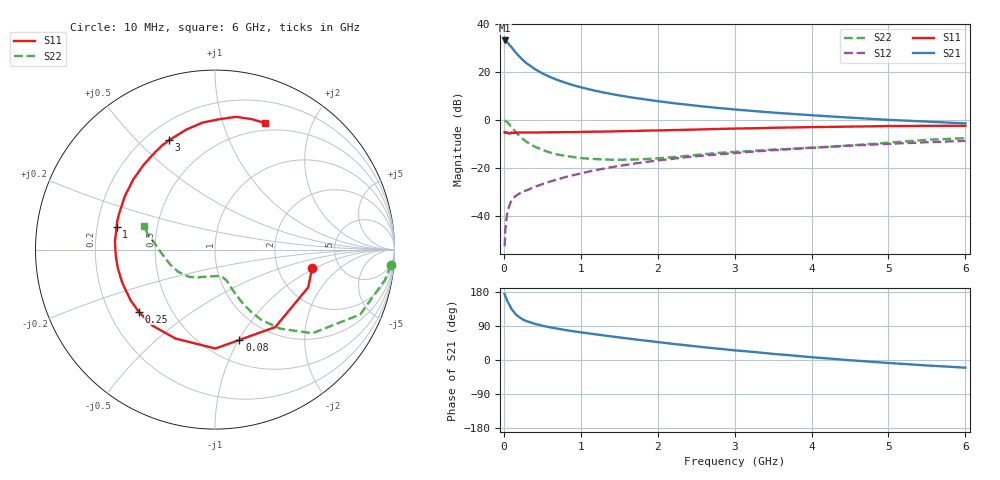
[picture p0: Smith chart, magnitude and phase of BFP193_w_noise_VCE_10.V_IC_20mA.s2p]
! Infineon Technologies  Discrete & RF Semiconductors
! BFP193
! VCE =  10. V,  IC =  20 mA
! Common Emitter S-Parameters:  Jan 2017
# GHz  S  MA  R  50
!  f  S11  S21  S12  S22
! GHz  MAG  ANG  MAG  ANG  MAG  ANG  MAG  ANG
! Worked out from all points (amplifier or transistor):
!   77 points, 10 MHz to 6 GHz, reference 50 ohm
!   highest |S21| = 33.3 dB at 10 MHz (marker M1)
!   |S21| within 3 dB of that: start of sweep to 104.8 MHz
!   unconditionally stable (mu >= 1): 891.8 MHz to 2.51 GHz
!   at 130 MHz: K = 0.36, MSG = 30.9 dB, |S12| = -32.5 dB
!   at 2.2 GHz: K = 1.02, MAG = 10.8 dB, |S12| = -16.2 dB
!   at 6 GHz: K = 0.89, MSG = 3.6 dB, |S12| = -8.7 dB
!   lowest NFmin = 1.05 dB at 450 MHz
!   S11 on the Smith chart (normalised r, x): 10 MHz: 3.14, -0.95; 80 MHz: 0.73, -1.01; 250 MHz: 0.33, -0.32; 1 GHz: 0.28, +0.10; 3 GHz: 0.29, +0.63; 6 GHz: 0.42, +1.39
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0.01  0.5511 -11.0  46.03 173.8  0.0023 86.2  0.984 -5.0
0.02  0.5602 -22.1  45.71 168.5  0.0052 85.3  0.961 -10.3
0.05  0.547 -52.1  41.52 153.2  0.0126 68.7  0.8856 -24.1
0.08  0.5212 -74.9  36.1 142.8  0.0175 62.4  0.7751 -33.2
0.1  0.5511 -89.8  33.33 134.1  0.0209 59.9  0.7149 -40.7
0.15  0.5423 -113.9  26.25 121.4  0.0256 52.8  0.5694 -50.6
0.2  0.5485 -129.5  21.3 113.1  0.0288 51.9  0.469 -56.6
0.25  0.5481 -140.9  17.74 106.7  0.0323 50.6  0.3973 -60.0
0.3  0.5486 -149.0  15.12 102.3  0.0339 51.3  0.3446 -62.5
0.4  0.5488 -160.3  11.67 95.4  0.0398 53.9  0.2774 -64.9
0.5  0.5509 -168.7  9.445 90.4  0.0456 55.4  0.2369 -66.7
0.6  0.5533 -175.1  7.953 86.2  0.0515 56.8  0.209 -68.2
0.7  0.5553 179.7  6.84 82.6  0.0573 58.3  0.1897 -69.0
1  0.563 167.0  4.841 73.1  0.0762 59.7  0.1599 -74.6
1.1  0.5671 163.5  4.413 70.3  0.0833 60.0  0.156 -76.5
1.5  0.582 150.5  3.265 59.7  0.1097 58.3  0.1471 -88.8
2.1  0.6097 133.2  2.364 45.0  0.1488 53.6  0.1624 -110.9
3  0.6611 112.7  1.66 25.5  0.2043 44.5  0.2159 -137.6
3.1  0.665 110.8  1.611 23.8  0.21 43.4  0.22 -140.1
4.1  0.7135 94.0  1.229 5.8  0.2677 33.0  0.2681 -164.5
5.1  0.7491 79.7  0.991 -9.1  0.3219 21.9  0.3454 172.8
6  0.7585 68.3  0.849 -20.3  0.3664 11.9  0.4177 161.3
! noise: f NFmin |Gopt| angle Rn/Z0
0.45  1.05  0.27  180  0.07
0.9  1.13  0.36  -178  0.07
1.9  1.76  0.56  -140  0.15
2.4  2.1  0.62  -124  0.34
